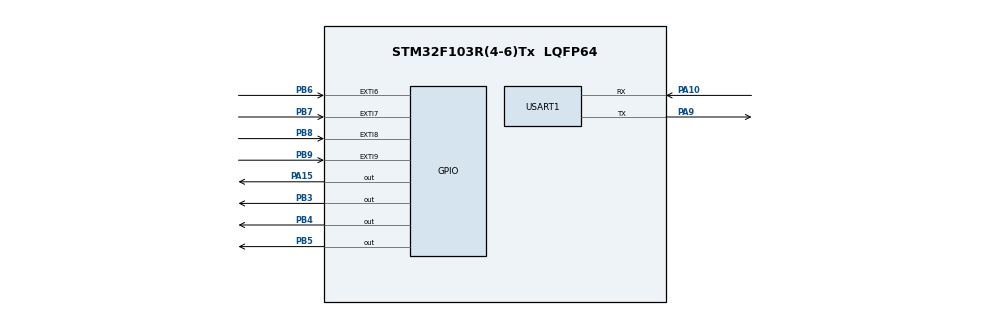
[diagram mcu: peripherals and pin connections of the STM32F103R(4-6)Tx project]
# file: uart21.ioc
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Mcu.Family=STM32F1
Mcu.Name=STM32F103R(4-6)Tx
Mcu.Package=LQFP64
NVIC.EXTI9_5_IRQn=true\:0\:0\:false\:false\:true\:true\:true\:true
NVIC.PriorityGroup=NVIC_PRIORITYGROUP_4
PA10.Mode=Asynchronous
PA10.Signal=USART1_RX
PA13.Mode=Serial_Wire
PA13.Signal=SYS_JTMS-SWDIO
PA14.Mode=Serial_Wire
PA14.Signal=SYS_JTCK-SWCLK
PA15.Signal=GPIO_Output
PA9.Mode=Asynchronous
PA9.Signal=USART1_TX
PB3.Signal=GPIO_Output
PB4.Signal=GPIO_Output
PB5.Signal=GPIO_Output
PB6.Signal=GPXTI6
PB7.Signal=GPXTI7
PB8.Signal=GPXTI8
PB9.Signal=GPXTI9
PD0-OSC_IN.Mode=HSE-External-Oscillator
PD0-OSC_IN.Signal=RCC_OSC_IN
PD1-OSC_OUT.Mode=HSE-External-Oscillator
PD1-OSC_OUT.Signal=RCC_OSC_OUT
ProjectManager.HeapSize=0x200
ProjectManager.StackSize=0x400
ProjectManager.TargetToolchain=STM32CubeIDE
RCC.APB1Freq_Value=8000000
RCC.APB2Freq_Value=8000000
USART1.VirtualMode=VM_ASYNC
board=custom

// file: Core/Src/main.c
/* USER CODE BEGIN Header */
/**
  ******************************************************************************
  * @file           : main.c
  * @brief          : Main program body
  ******************************************************************************
  * @attention
  *
  * Copyright (c) 2023 STMicroelectronics.
  * All rights reserved.
  *
  * This software is licensed under terms that can be found in the LICENSE file
  * in the root directory of this software component.
  * If no LICENSE file comes with this software, it is provided AS-IS.
  *
  ******************************************************************************
  */
/* USER CODE END Header */
#include "main.h"
#include <string.h>
#include <stdio.h>

char buffer[32]={0};

UART_HandleTypeDef huart1;

/* USER CODE BEGIN PV */
 GPIO_InitTypeDef GPIO_InitStructPrivate = {0};
  uint32_t previousMillis = 0;
  uint32_t currentMillis = 0;
  uint8_t keyPressed = 0;

/* USER CODE END PV */

void SystemClock_Config(void);
static void MX_GPIO_Init(void);
static void MX_USART1_UART_Init(void);

int main(void)
{

  /* MCU Configuration--------------------------------------------------------*/

  /* Reset of all peripherals, Initializes the Flash interface and the Systick. */
  HAL_Init();

  /* Configure the system clock */
  SystemClock_Config();

  /* Initialize all configured peripherals */
  MX_GPIO_Init();
  MX_USART1_UART_Init();
  /* USER CODE BEGIN 2 */
  HAL_GPIO_WritePin(GPIOA, GPIO_PIN_15, 1);
    HAL_GPIO_WritePin(GPIOB, GPIO_PIN_3, 1);
    HAL_GPIO_WritePin(GPIOB, GPIO_PIN_4, 1);
    HAL_GPIO_WritePin(GPIOB, GPIO_PIN_5, 1);
  /* USER CODE END 2 */

  /* Infinite loop */
  while (1)
  {

  }
}

void SystemClock_Config(void)
{
  RCC_OscInitTypeDef RCC_OscInitStruct = {0};
  RCC_ClkInitTypeDef RCC_ClkInitStruct = {0};

  /** Initializes the RCC Oscillators according to the specified parameters
  * in the RCC_OscInitTypeDef structure.
  */
  RCC_OscInitStruct.OscillatorType = RCC_OSCILLATORTYPE_HSI;
  RCC_OscInitStruct.HSIState = RCC_HSI_ON;
  RCC_OscInitStruct.HSICalibrationValue = RCC_HSICALIBRATION_DEFAULT;
  RCC_OscInitStruct.PLL.PLLState = RCC_PLL_NONE;
  if (HAL_RCC_OscConfig(&RCC_OscInitStruct) != HAL_OK)
  {
    Error_Handler();
  }

  /** Initializes the CPU, AHB and APB buses clocks
  */
  RCC_ClkInitStruct.ClockType = RCC_CLOCKTYPE_HCLK|RCC_CLOCKTYPE_SYSCLK
                              |RCC_CLOCKTYPE_PCLK1|RCC_CLOCKTYPE_PCLK2;
  RCC_ClkInitStruct.SYSCLKSource = RCC_SYSCLKSOURCE_HSI;
  RCC_ClkInitStruct.AHBCLKDivider = RCC_SYSCLK_DIV1;
  RCC_ClkInitStruct.APB1CLKDivider = RCC_HCLK_DIV1;
  RCC_ClkInitStruct.APB2CLKDivider = RCC_HCLK_DIV1;

  if (HAL_RCC_ClockConfig(&RCC_ClkInitStruct, FLASH_LATENCY_0) != HAL_OK)
  {
    Error_Handler();
  }
}

static void MX_USART1_UART_Init(void)
{

  huart1.Instance = USART1;
  huart1.Init.BaudRate = 9600;
  huart1.Init.WordLength = UART_WORDLENGTH_8B;
  huart1.Init.StopBits = UART_STOPBITS_1;
  huart1.Init.Parity = UART_PARITY_NONE;
  huart1.Init.Mode = UART_MODE_TX_RX;
  huart1.Init.HwFlowCtl = UART_HWCONTROL_NONE;
  huart1.Init.OverSampling = UART_OVERSAMPLING_16;
  if (HAL_UART_Init(&huart1) != HAL_OK)
  {
    Error_Handler();
  }

}

static void MX_GPIO_Init(void)
{
  GPIO_InitTypeDef GPIO_InitStruct = {0};

  /* GPIO Ports Clock Enable */
  __HAL_RCC_GPIOD_CLK_ENABLE();
  __HAL_RCC_GPIOA_CLK_ENABLE();
  __HAL_RCC_GPIOB_CLK_ENABLE();

  /*Configure GPIO pin Output Level */
  HAL_GPIO_WritePin(GPIOA, GPIO_PIN_15, GPIO_PIN_RESET);

  /*Configure GPIO pin Output Level */
  HAL_GPIO_WritePin(GPIOB, GPIO_PIN_3|GPIO_PIN_4|GPIO_PIN_5, GPIO_PIN_RESET);

  /*Configure GPIO pin : PA15 */
  GPIO_InitStruct.Pin = GPIO_PIN_15;
  GPIO_InitStruct.Mode = GPIO_MODE_OUTPUT_PP;
  GPIO_InitStruct.Pull = GPIO_NOPULL;
  GPIO_InitStruct.Speed = GPIO_SPEED_FREQ_LOW;
  HAL_GPIO_Init(GPIOA, &GPIO_InitStruct);

  /*Configure GPIO pins : PB3 PB4 PB5 */
  GPIO_InitStruct.Pin = GPIO_PIN_3|GPIO_PIN_4|GPIO_PIN_5;
  GPIO_InitStruct.Mode = GPIO_MODE_OUTPUT_PP;
  GPIO_InitStruct.Pull = GPIO_NOPULL;
  GPIO_InitStruct.Speed = GPIO_SPEED_FREQ_LOW;
  HAL_GPIO_Init(GPIOB, &GPIO_InitStruct);

  /*Configure GPIO pins : PB6 PB7 PB8 PB9 */
  GPIO_InitStruct.Pin = GPIO_PIN_6|GPIO_PIN_7|GPIO_PIN_8|GPIO_PIN_9;
  GPIO_InitStruct.Mode = GPIO_MODE_IT_RISING;
  GPIO_InitStruct.Pull = GPIO_NOPULL;
  HAL_GPIO_Init(GPIOB, &GPIO_InitStruct);

  /* EXTI interrupt init*/
  HAL_NVIC_SetPriority(EXTI9_5_IRQn, 0, 0);
  HAL_NVIC_EnableIRQ(EXTI9_5_IRQn);

}

/* USER CODE BEGIN 4 */
void HAL_GPIO_EXTI_Callback(uint16_t GPIO_Pin)
{

  currentMillis = HAL_GetTick();
  if (currentMillis - previousMillis > 10) {
    /*Configure GPIO pins : PB6 PB7 PB8 PB9 to GPIO_INPUT*/
    GPIO_InitStructPrivate.Pin = GPIO_PIN_6|GPIO_PIN_7|GPIO_PIN_8|GPIO_PIN_9;
    GPIO_InitStructPrivate.Mode = GPIO_MODE_INPUT;
    GPIO_InitStructPrivate.Pull = GPIO_NOPULL;
    GPIO_InitStructPrivate.Speed = GPIO_SPEED_FREQ_LOW;
    HAL_GPIO_Init(GPIOB, &GPIO_InitStructPrivate);

    HAL_GPIO_WritePin(GPIOA, GPIO_PIN_15, 1);
    HAL_GPIO_WritePin(GPIOB, GPIO_PIN_3, 0);
    HAL_GPIO_WritePin(GPIOB, GPIO_PIN_4, 0);
    HAL_GPIO_WritePin(GPIOB, GPIO_PIN_5, 0);
    if(GPIO_Pin == GPIO_PIN_6 && HAL_GPIO_ReadPin(GPIOB, GPIO_PIN_6))
    {
      char KEYPRESSED[1]="D"; //ASCII value of D
      sprintf(buffer,"KEYPRESSED:%s\n", KEYPRESSED);
      HAL_UART_Transmit(&huart1, (uint8_t *)buffer, strlen(buffer), 25);
    }
    else if(GPIO_Pin == GPIO_PIN_7 && HAL_GPIO_ReadPin(GPIOB, GPIO_PIN_7))
    {
      char KEYPRESSEDC[1]="C";
      sprintf(buffer,"KEYPRESSED:%s\n", KEYPRESSEDC);
      HAL_UART_Transmit(&huart1, (uint8_t *)buffer, strlen(buffer), 25);//ASCII value of C
    }
    else if(GPIO_Pin == GPIO_PIN_8 && HAL_GPIO_ReadPin(GPIOB, GPIO_PIN_8))
    {
      char KEYPRESSEDB[1]="B";
      sprintf(buffer,"KEYPRESSED:%s\n", KEYPRESSEDB);
      HAL_UART_Transmit(&huart1, (uint8_t *)buffer, strlen(buffer), 25);//ASCII value of B
    }
    else if(GPIO_Pin == GPIO_PIN_9 && HAL_GPIO_ReadPin(GPIOB, GPIO_PIN_9))
    {
      char KEYPRESSEDA[1]="A";
      sprintf(buffer,"KEYPRESSED:%s\n", KEYPRESSEDA);
      HAL_UART_Transmit(&huart1, (uint8_t *)buffer, strlen(buffer), 25);//ASCII value of A
    }

    HAL_GPIO_WritePin(GPIOA, GPIO_PIN_15, 0);
    HAL_GPIO_WritePin(GPIOB, GPIO_PIN_3, 1);
    HAL_GPIO_WritePin(GPIOB, GPIO_PIN_4, 0);
    HAL_GPIO_WritePin(GPIOB, GPIO_PIN_5, 0);
    if(GPIO_Pin == GPIO_PIN_6 && HAL_GPIO_ReadPin(GPIOB, GPIO_PIN_6))
    {
      char KEYPRESSEDP[1]="#";
      sprintf(buffer,"KEYPRESSED:%s\n", KEYPRESSEDP);
      HAL_UART_Transmit(&huart1, (uint8_t *)buffer, strlen(buffer), 25);//ASCII value of #
    }
    else if(GPIO_Pin == GPIO_PIN_7 && HAL_GPIO_ReadPin(GPIOB, GPIO_PIN_7))
    {
      char KEYPRESSED9[1]="9";
      sprintf(buffer,"KEYPRESSED:%s\n", KEYPRESSED9);
      HAL_UART_Transmit(&huart1, (uint8_t *)buffer, strlen(buffer), 25);//ASCII value of 9
    }
    else if(GPIO_Pin == GPIO_PIN_8 && HAL_GPIO_ReadPin(GPIOB, GPIO_PIN_8))
    {
      char KEYPRESSED6[1]="6";
      sprintf(buffer,"KEYPRESSED:%s\n", KEYPRESSED6);
      HAL_UART_Transmit(&huart1, (uint8_t *)buffer, strlen(buffer), 25);//ASCII value of 6
    }
    else if(GPIO_Pin == GPIO_PIN_9 && HAL_GPIO_ReadPin(GPIOB, GPIO_PIN_9))
    {
      char KEYPRESSED3[1]="3";
      sprintf(buffer,"KEYPRESSED:%s\n", KEYPRESSED3);
      HAL_UART_Transmit(&huart1, (uint8_t *)buffer, strlen(buffer), 25);//ASCII value of 3
    }

    HAL_GPIO_WritePin(GPIOA, GPIO_PIN_15, 0);
    HAL_GPIO_WritePin(GPIOB, GPIO_PIN_3, 0);
    HAL_GPIO_WritePin(GPIOB, GPIO_PIN_4, 1);
    HAL_GPIO_WritePin(GPIOB, GPIO_PIN_5, 0);
    if(GPIO_Pin == GPIO_PIN_6 && HAL_GPIO_ReadPin(GPIOB, GPIO_PIN_6))
    {
      char KEYPRESSED0[1]="0";
      sprintf(buffer,"KEYPRESSED:%s\n", KEYPRESSED0);
      HAL_UART_Transmit(&huart1, (uint8_t *)buffer, strlen(buffer), 25);//ASCII value of 0
    }
    else if(GPIO_Pin == GPIO_PIN_7 && HAL_GPIO_ReadPin(GPIOB, GPIO_PIN_7))
    {
      char KEYPRESSED8[1]="8";
      sprintf(buffer,"KEYPRESSED:%s\n", KEYPRESSED8);
      HAL_UART_Transmit(&huart1, (uint8_t *)buffer, strlen(buffer), 25);//ASCII value of 8
    }
    else if(GPIO_Pin == GPIO_PIN_8 && HAL_GPIO_ReadPin(GPIOB, GPIO_PIN_8))
    {
      char KEYPRESSED5[1]="5";
      sprintf(buffer,"KEYPRESSED:%s\n", KEYPRESSED5);
      HAL_UART_Transmit(&huart1, (uint8_t *)buffer, strlen(buffer), 25);//ASCII value of 5
    }
    else if(GPIO_Pin == GPIO_PIN_9 && HAL_GPIO_ReadPin(GPIOB, GPIO_PIN_9))
    {
      char KEYPRESSED2[1]="2";
      sprintf(buffer,"KEYPRESSED:%s\n", KEYPRESSED2);
      HAL_UART_Transmit(&huart1, (uint8_t *)buffer, strlen(buffer), 25);//ASCII value of 2
    }

    HAL_GPIO_WritePin(GPIOA, GPIO_PIN_15, 0);
    HAL_GPIO_WritePin(GPIOB, GPIO_PIN_3, 0);
    HAL_GPIO_WritePin(GPIOB, GPIO_PIN_4, 0);
    HAL_GPIO_WritePin(GPIOB, GPIO_PIN_5, 1);
    if(GPIO_Pin == GPIO_PIN_6 && HAL_GPIO_ReadPin(GPIOB, GPIO_PIN_6))
    {
      char KEYPRESSEDQ[1] = "*";
      sprintf(buffer,"KEYPRESSED:%s\n", KEYPRESSEDQ);
      HAL_UART_Transmit(&huart1, (uint8_t *)buffer, strlen(buffer), 25);//ASCII value of *
    }
    else if(GPIO_Pin == GPIO_PIN_7 && HAL_GPIO_ReadPin(GPIOB, GPIO_PIN_7))
    {
      char KEYPRESSED7[1] = "7";
      sprintf(buffer,"KEYPRESSED:%s\n", KEYPRESSED7);
      HAL_UART_Transmit(&huart1, (uint8_t *)buffer, strlen(buffer), 25);//ASCII value of 7
    }
    else if(GPIO_Pin == GPIO_PIN_8 && HAL_GPIO_ReadPin(GPIOB, GPIO_PIN_8))
    {
      char KEYPRESSED4[1] = "4";
      sprintf(buffer,"KEYPRESSED:%s\n", KEYPRESSED4);
      HAL_UART_Transmit(&huart1, (uint8_t *)buffer, strlen(buffer), 25);//ASCII value of 4
    }
    else if(GPIO_Pin == GPIO_PIN_9 && HAL_GPIO_ReadPin(GPIOB, GPIO_PIN_9))
    {
      char KEYPRESSED1[1] = "1";
      sprintf(buffer,"KEYPRESSED:%s\n", KEYPRESSED1);
      HAL_UART_Transmit(&huart1, (uint8_t *)buffer, strlen(buffer), 25);//ASCII value of 1
    }

    HAL_GPIO_WritePin(GPIOA, GPIO_PIN_15, 1);
    HAL_GPIO_WritePin(GPIOB, GPIO_PIN_3, 1);
    HAL_GPIO_WritePin(GPIOB, GPIO_PIN_4, 1);
    HAL_GPIO_WritePin(GPIOB, GPIO_PIN_5, 1);
    /*Configure GPIO pins : PB6 PB7 PB8 PB9 back to EXTI*/
    GPIO_InitStructPrivate.Mode = GPIO_MODE_IT_RISING;
    GPIO_InitStructPrivate.Pull = GPIO_PULLDOWN;
    HAL_GPIO_Init(GPIOB, &GPIO_InitStructPrivate);
    previousMillis = currentMillis;
  }
}
/* USER CODE END 4 */

void Error_Handler(void)
{
  __disable_irq();
  while (1)
  {
  }
}
